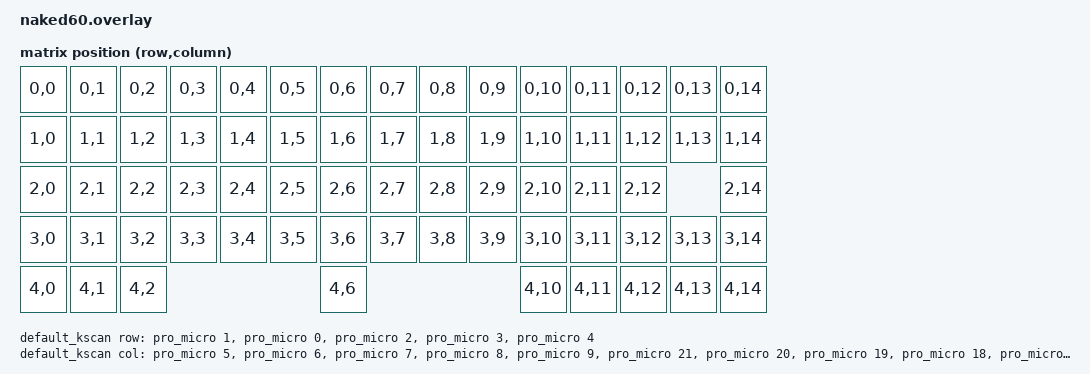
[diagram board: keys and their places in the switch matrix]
#include <dt-bindings/zmk/matrix_transform.h>
#include <dt-bindings/led/led.h>


/ {
    chosen {
        zmk,kscan = &default_kscan;
        zmk,matrix_transform = &default_transform;
        zmk,underglow = &led_strip;
    };

    default_kscan: kscan {
        compatible = "zmk,kscan-gpio-matrix";
        label = "default_kscan";
        diode-direction = "col2row";

        row-gpios = <&pro_micro 1 (GPIO_ACTIVE_HIGH | GPIO_PULL_DOWN)>,
                    <&pro_micro 0 (GPIO_ACTIVE_HIGH | GPIO_PULL_DOWN)>,
                    <&pro_micro 2 (GPIO_ACTIVE_HIGH | GPIO_PULL_DOWN)>,
                    <&pro_micro 3 (GPIO_ACTIVE_HIGH | GPIO_PULL_DOWN)>,
                    <&pro_micro 4 (GPIO_ACTIVE_HIGH | GPIO_PULL_DOWN)>;

        col-gpios = <&pro_micro 5 (GPIO_ACTIVE_HIGH)>,
                    <&pro_micro 6 (GPIO_ACTIVE_HIGH)>,
                    <&pro_micro 7 (GPIO_ACTIVE_HIGH)>,
                    <&pro_micro 8 (GPIO_ACTIVE_HIGH)>,
                    <&pro_micro 9 (GPIO_ACTIVE_HIGH)>,
                    <&pro_micro 21 (GPIO_ACTIVE_HIGH)>,
                    <&pro_micro 20 (GPIO_ACTIVE_HIGH)>,
                    <&pro_micro 19 (GPIO_ACTIVE_HIGH)>,
                    <&pro_micro 18 (GPIO_ACTIVE_HIGH)>,
                    <&pro_micro 15 (GPIO_ACTIVE_HIGH)>,
                    <&pro_micro 14 (GPIO_ACTIVE_HIGH)>,
                    <&pro_micro 16 (GPIO_ACTIVE_HIGH)>,
                    <&pro_micro 10 (GPIO_ACTIVE_HIGH)>,
                    <&gpio1 1 (GPIO_ACTIVE_HIGH)>,
                    <&gpio1 2 (GPIO_ACTIVE_HIGH)>;
    };

    default_transform: matrix_transform {
        compatible = "zmk,matrix-transform";
        rows = <5>;
        columns = <15>;

        map = <
                RC(0, 0) RC(0, 1) RC(0, 2) RC(0, 3) RC(0, 4) RC(0, 5) RC(0, 6) RC(0, 7) RC(0, 8) RC(0, 9) RC(0, 10) RC(0, 11) RC(0, 12) RC(0, 13) RC(0, 14)
                RC(1, 0) RC(1, 1) RC(1, 2) RC(1, 3) RC(1, 4) RC(1, 5) RC(1, 6) RC(1, 7) RC(1, 8) RC(1, 9) RC(1, 10) RC(1, 11) RC(1, 12) RC(1, 13) RC(1, 14)
                RC(2, 0) RC(2, 1) RC(2, 2) RC(2, 3) RC(2, 4) RC(2, 5) RC(2, 6) RC(2, 7) RC(2, 8) RC(2, 9) RC(2, 10) RC(2, 11) RC(2, 12)           RC(2, 14)
                RC(3, 0) RC(3, 1) RC(3, 2) RC(3, 3) RC(3, 4) RC(3, 5) RC(3, 6) RC(3, 7) RC(3, 8) RC(3, 9) RC(3, 10) RC(3, 11) RC(3, 12) RC(3, 13) RC(3, 14)
                RC(4, 0) RC(4, 1) RC(4, 2)                            RC(4, 6)                            RC(4, 10) RC(4, 11) RC(4, 12) RC(4, 13) RC(4, 14)
        >;
    };

    pinctrl {
        /* Assign GPIO7 (P1.07) for SPI MOSI */
        spi3_default: spi3_default {
            group1 { psels = <NRF_PSEL(SPIM_MOSI, 1, 7)>; };
        };
        spi3_sleep: spi3_sleep {
            group1 {
                psels = <NRF_PSEL(SPIM_MOSI, 1, 7)>;
                low-power-enable;
            };
        };
    };

    spi3 {
        #address-cells = <1>;
        #size-cells = <0>;
        compatible = "nordic,nrf-spim";
        status = "okay";
        pinctrl-0 = <&spi3_default>;
        pinctrl-1 = <&spi3_sleep>;
        pinctrl-names = "default", "sleep";

        led_strip: ws2812@0 {
            compatible = "worldsemi,ws2812-spi";       /* SK6812 uses WS2812 protocol */
            reg = <0>;                                  /* Mandatory but ignored */
            spi-max-frequency = <4000000>;              /* 4 MHz SPI clock */
            chain-length = <10>;                        /* Number of SK6812 pixels */
            spi-one-frame = <0x70>;                     /* ‘1’ bit timing */
            spi-zero-frame = <0x40>;                    /* ‘0’ bit timing */
            color-mapping = <LED_COLOR_ID_GREEN         /* SK6812 order: G, R, B */
                             LED_COLOR_ID_RED
                             LED_COLOR_ID_BLUE>;
        };
    };
};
